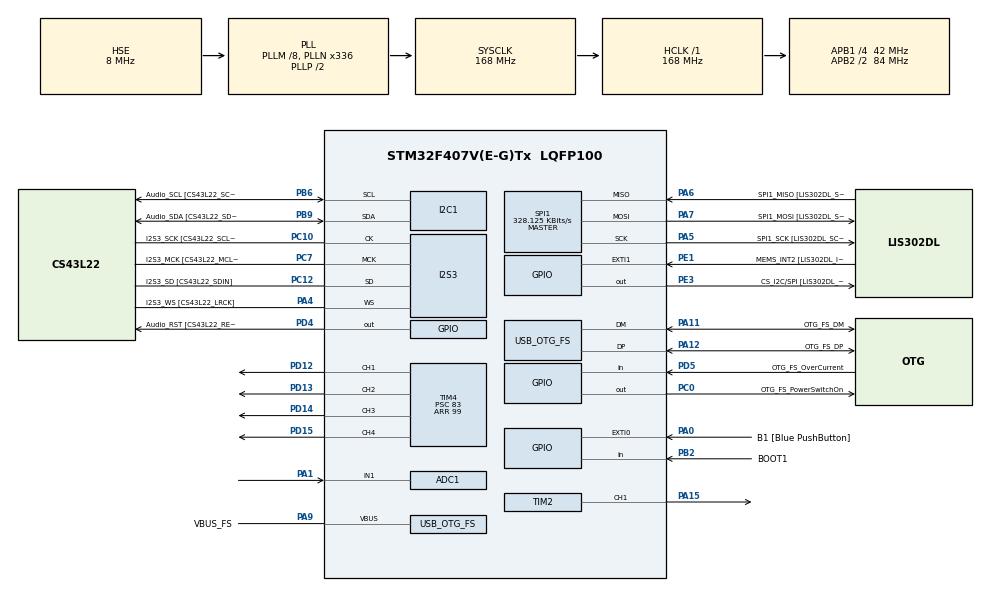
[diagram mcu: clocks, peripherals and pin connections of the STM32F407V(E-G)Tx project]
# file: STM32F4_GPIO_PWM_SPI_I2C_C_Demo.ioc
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ADC1.Channel-0\#ChannelRegularConversion=ADC_CHANNEL_1
ADC1.NbrOfConversionFlag=1
ADC1.Rank-0\#ChannelRegularConversion=1
ADC1.SamplingTime-0\#ChannelRegularConversion=ADC_SAMPLETIME_3CYCLES
ADC1.master=1
I2S3.AudioFreq-Half_Duplex_Master=I2S_AUDIOFREQ_96K
I2S3.ErrorAudioFreq=-2.34 %
I2S3.ErrorAudioFreq-Half_Duplex_Master=0.8 %
I2S3.FullDuplexMode=I2S_FULLDUPLEXMODE_DISABLE
I2S3.Instance=SPI$Index
I2S3.RealAudioFreq=93.75 KHz
I2S3.RealAudioFreq-Half_Duplex_Master=96.774 KHz
I2S3.VirtualMode=I2S_MODE_MASTER
Mcu.Family=STM32F4
Mcu.Name=STM32F407V(E-G)Tx
Mcu.Package=LQFP100
NVIC.OTG_FS_IRQn=true\:0\:0\:false\:false\:true\:true\:true\:true
NVIC.PriorityGroup=NVIC_PRIORITYGROUP_0
PA0-WKUP.GPIO_Label=B1 [Blue PushButton]
PA0-WKUP.GPIO_ModeDefaultEXTI=GPIO_MODE_EVT_RISING
PA0-WKUP.GPIO_PuPd=GPIO_NOPULL
PA0-WKUP.Signal=GPXTI0
PA1.Signal=ADCx_IN1
PA10.GPIO_Label=OTG_FS_ID
PA10.GPIO_Mode=GPIO_MODE_AF_PP
PA10.GPIO_PuPd=GPIO_NOPULL
PA10.GPIO_Speed=GPIO_SPEED_FREQ_LOW
PA10.Signal=USB_OTG_FS_ID
PA11.GPIO_Label=OTG_FS_DM
PA11.GPIO_Mode=GPIO_MODE_AF_PP
PA11.GPIO_PuPd=GPIO_NOPULL
PA11.GPIO_Speed=GPIO_SPEED_FREQ_LOW
PA11.Mode=Device_Only
PA11.Signal=USB_OTG_FS_DM
PA12.GPIO_Label=OTG_FS_DP
PA12.GPIO_Mode=GPIO_MODE_AF_PP
PA12.GPIO_PuPd=GPIO_NOPULL
PA12.GPIO_Speed=GPIO_SPEED_FREQ_LOW
PA12.Mode=Device_Only
PA12.Signal=USB_OTG_FS_DP
PA13.GPIO_Label=SWDIO
PA13.Mode=Serial_Wire
PA13.Signal=SYS_JTMS-SWDIO
PA14.GPIO_Label=SWCLK
PA14.Mode=Serial_Wire
PA14.Signal=SYS_JTCK-SWCLK
PA15.Signal=S_TIM2_CH1_ETR
PA2.Signal=ADCx_IN2
PA3.Signal=ADCx_IN3
PA4.GPIO_Label=I2S3_WS [CS43L22_LRCK]
PA4.GPIO_Mode=GPIO_MODE_AF_PP
PA4.GPIO_PuPd=GPIO_NOPULL
PA4.GPIO_Speed=GPIO_SPEED_FREQ_LOW
PA4.Mode=Half_Duplex_Master
PA4.Signal=I2S3_WS
PA5.GPIO_Label=SPI1_SCK [LIS302DL_SCL/SPC]
PA5.GPIO_Mode=GPIO_MODE_AF_PP
PA5.GPIO_PuPd=GPIO_NOPULL
PA5.GPIO_Speed=GPIO_SPEED_FREQ_LOW
PA5.Mode=Full_Duplex_Master
PA5.Signal=SPI1_SCK
PA6.GPIO_Label=SPI1_MISO [LIS302DL_SDO]
PA6.GPIO_Mode=GPIO_MODE_AF_PP
PA6.GPIO_PuPd=GPIO_NOPULL
PA6.GPIO_Speed=GPIO_SPEED_FREQ_LOW
PA6.Mode=Full_Duplex_Master
PA6.Signal=SPI1_MISO
PA7.GPIO_Label=SPI1_MOSI [LIS302DL_SDA/SDI/SDO]
PA7.GPIO_Mode=GPIO_MODE_AF_PP
PA7.GPIO_PuPd=GPIO_NOPULL
PA7.GPIO_Speed=GPIO_SPEED_FREQ_LOW
PA7.Mode=Full_Duplex_Master
PA7.Signal=SPI1_MOSI
PA9.GPIO_Label=VBUS_FS
PA9.GPIO_Mode=GPIO_MODE_INPUT
PA9.GPIO_PuPd=GPIO_NOPULL
PA9.Mode=Activate_VBUS
PA9.Signal=USB_OTG_FS_VBUS
PB10.GPIO_Label=CLK_IN [MP45DT02_CLK]
PB10.GPIO_Mode=GPIO_MODE_AF_PP
PB10.GPIO_PuPd=GPIO_NOPULL
PB10.GPIO_Speed=GPIO_SPEED_FREQ_LOW
PB10.Signal=I2S2_CK
PB2.GPIO_Label=BOOT1
PB2.GPIO_Mode=GPIO_MODE_INPUT
PB2.GPIO_PuPd=GPIO_NOPULL
PB2.Signal=GPIO_Input
PB3.GPIO_Label=SWO
PB3.Signal=SYS_JTDO-SWO
PB6.GPIO_Label=Audio_SCL [CS43L22_SCL]
PB6.GPIO_Mode=GPIO_MODE_AF_OD
PB6.GPIO_Pu=GPIO_PULLUP
PB6.GPIO_PuPd=GPIO_NOPULL
PB6.GPIO_Speed=GPIO_SPEED_FREQ_LOW
PB6.Mode=I2C
PB6.Signal=I2C1_SCL
PB9.GPIO_Label=Audio_SDA [CS43L22_SDA]
PB9.GPIO_Mode=GPIO_MODE_AF_OD
PB9.GPIO_Pu=GPIO_PULLUP
PB9.GPIO_PuPd=GPIO_NOPULL
PB9.GPIO_Speed=GPIO_SPEED_FREQ_LOW
PB9.Mode=I2C
PB9.Signal=I2C1_SDA
PC0.GPIO_Label=OTG_FS_PowerSwitchOn
PC0.GPIO_PuPd=GPIO_NOPULL
PC0.GPIO_Speed=GPIO_SPEED_FREQ_LOW
PC0.PinState=GPIO_PIN_SET
PC0.Signal=GPIO_Output
PC10.GPIO_Label=I2S3_SCK [CS43L22_SCLK]
PC10.GPIO_Mode=GPIO_MODE_AF_PP
PC10.GPIO_PuPd=GPIO_NOPULL
PC10.GPIO_Speed=GPIO_SPEED_FREQ_LOW
PC10.Mode=Half_Duplex_Master
PC10.Signal=I2S3_CK
PC12.GPIO_Label=I2S3_SD [CS43L22_SDIN]
PC12.GPIO_Mode=GPIO_MODE_AF_PP
PC12.GPIO_PuPd=GPIO_NOPULL
PC12.GPIO_Speed=GPIO_SPEED_FREQ_LOW
PC12.Mode=Half_Duplex_Master
PC12.Signal=I2S3_SD
PC14-OSC32_IN.GPIO_Label=PC14-OSC32_IN
PC14-OSC32_IN.Mode=LSE-External-Oscillator
PC14-OSC32_IN.Signal=RCC_OSC32_IN
PC15-OSC32_OUT.GPIO_Label=PC15-OSC32_OUT
PC15-OSC32_OUT.Mode=LSE-External-Oscillator
PC15-OSC32_OUT.Signal=RCC_OSC32_OUT
PC3.GPIO_Label=PDM_OUT [MP45DT02_DOUT]
PC3.GPIO_Mode=GPIO_MODE_AF_PP
PC3.GPIO_PuPd=GPIO_NOPULL
PC3.GPIO_Speed=GPIO_SPEED_FREQ_LOW
PC3.Signal=I2S2_SD
PC7.GPIO_Label=I2S3_MCK [CS43L22_MCLK]
PC7.GPIO_Mode=GPIO_MODE_AF_PP
PC7.GPIO_PuPd=GPIO_NOPULL
PC7.GPIO_Speed=GPIO_SPEED_FREQ_LOW
PC7.Mode=Master_Clock_Activated
PC7.Signal=I2S3_MCK
PD12.Signal=S_TIM4_CH1
PD13.Signal=S_TIM4_CH2
PD14.Signal=S_TIM4_CH3
PD15.Signal=S_TIM4_CH4
PD4.GPIO_Label=Audio_RST [CS43L22_RESET]
PD4.GPIO_PuPd=GPIO_NOPULL
PD4.GPIO_Speed=GPIO_SPEED_FREQ_LOW
PD4.Signal=GPIO_Output
PD5.GPIO_Label=OTG_FS_OverCurrent
PD5.GPIO_Mode=GPIO_MODE_INPUT
PD5.GPIO_PuPd=GPIO_NOPULL
PD5.Signal=GPIO_Input
PE1.GPIO_Label=MEMS_INT2 [LIS302DL_INT2]
PE1.GPIO_ModeDefaultEXTI=GPIO_MODE_EVT_RISING
PE1.GPIO_PuPd=GPIO_NOPULL
PE1.Signal=GPXTI1
PE3.GPIO_Label=CS_I2C/SPI [LIS302DL_CS_I2C/SPI]
PE3.GPIO_PuPd=GPIO_NOPULL
PE3.GPIO_Speed=GPIO_SPEED_FREQ_LOW
PE3.Signal=GPIO_Output
PH0-OSC_IN.GPIO_Label=PH0-OSC_IN
PH0-OSC_IN.Mode=HSE-External-Oscillator
PH0-OSC_IN.Signal=RCC_OSC_IN
PH1-OSC_OUT.GPIO_Label=PH1-OSC_OUT
PH1-OSC_OUT.Mode=HSE-External-Oscillator
PH1-OSC_OUT.Signal=RCC_OSC_OUT
ProjectManager.HeapSize=0x200
ProjectManager.StackSize=0x400
ProjectManager.TargetToolchain=STM32CubeIDE
RCC.48MHZClocksFreq_Value=48000000
RCC.AHBFreq_Value=168000000
RCC.APB1CLKDivider=RCC_HCLK_DIV4
RCC.APB1Freq_Value=42000000
RCC.APB1TimFreq_Value=84000000
RCC.APB2CLKDivider=RCC_HCLK_DIV2
RCC.APB2Freq_Value=84000000
RCC.APB2TimFreq_Value=168000000
RCC.CortexFreq_Value=168000000
RCC.HCLKFreq_Value=168000000
RCC.HSE_VALUE=8000000
RCC.HSI_VALUE=16000000
RCC.PLLM=8
RCC.PLLN=336
RCC.PLLQ=7
RCC.SYSCLKFreq_VALUE=168000000
RCC.SYSCLKSource=RCC_SYSCLKSOURCE_PLLCLK
RCC.VCOOutputFreq_Value=336000000
SH.ADCx_IN1.0=ADC1_IN1,IN1
SH.ADCx_IN2.0=ADC1_IN2
SH.ADCx_IN3.0=ADC1_IN3
SH.S_TIM2_CH1_ETR.0=TIM2_CH1,PWM Generation1 CH1
SH.S_TIM4_CH1.0=TIM4_CH1,PWM Generation1 CH1
SH.S_TIM4_CH2.0=TIM4_CH2,PWM Generation2 CH2
SH.S_TIM4_CH3.0=TIM4_CH3,PWM Generation3 CH3
SH.S_TIM4_CH4.0=TIM4_CH4,PWM Generation4 CH4
SPI1.BaudRatePrescaler=SPI_BAUDRATEPRESCALER_256
SPI1.BaudRatePrescaler-Full_Duplex_Master=SPI_BAUDRATEPRESCALER_2
SPI1.CalculateBaudRate=328.125 KBits/s
SPI1.CalculateBaudRate-Full_Duplex_Master=42.0 MBits/s
SPI1.Direction=SPI_DIRECTION_2LINES
SPI1.Mode=SPI_MODE_MASTER
SPI1.Mode-Full_Duplex_Master=SPI_MODE_MASTER
SPI1.VirtualType=VM_MASTER
TIM2.Channel-PWM\ Generation1\ CH1=TIM_CHANNEL_1
TIM2.Period=99
TIM2.Prescaler=83
TIM4.Channel-PWM\ Generation1\ CH1=TIM_CHANNEL_1
TIM4.Channel-PWM\ Generation2\ CH2=TIM_CHANNEL_2
TIM4.Channel-PWM\ Generation3\ CH3=TIM_CHANNEL_3
TIM4.Channel-PWM\ Generation4\ CH4=TIM_CHANNEL_4
TIM4.Period=99
TIM4.Prescaler=83
USB_DEVICE.CLASS_NAME_FS=CDC
USB_DEVICE.VirtualMode-CDC_FS=Cdc
USB_DEVICE.VirtualModeFS=Cdc_FS
USB_OTG_FS.VirtualMode=Device_Only
VP_TIM2_VS_ClockSourceINT.Mode=Internal
VP_TIM4_VS_ClockSourceINT.Mode=Internal
VP_USB_DEVICE_VS_USB_DEVICE_CDC_FS.Mode=CDC_FS
board=STM32F407G-DISC1

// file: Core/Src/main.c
/* USER CODE BEGIN Header */
/**
  ******************************************************************************
  * @file           : main.c
  * @brief          : Main program body
  ******************************************************************************
  * @attention
  *
  * Copyright (c) 2024 STMicroelectronics.
  * All rights reserved.
  *
  * This software is licensed under terms that can be found in the LICENSE file
  * in the root directory of this software component.
  * If no LICENSE file comes with this software, it is provided AS-IS.
  *
  ******************************************************************************
  */
/* USER CODE END Header */
#include "main.h"
#include "adc.h"
#include "i2c.h"
#include "i2s.h"
#include "spi.h"
#include "tim.h"
#include "usb_device.h"
#include "gpio.h"

/* USER CODE BEGIN PV */
#define 	BUFSIZE 256
char	SendBuffer[BUFSIZE];
int	Counter;
int KeyState=0;
int Duty=0;
int NoteFreq = 440 ; // Note A4 = 440 Hz
int NotePeriod;  //Already prescaled to 1 MHz

uint8_t ChipID;

uint32_t TickLast;
// Global variables
uint8_t indata[2];
uint8_t outdata[2] = {0,0};
uint8_t lis_id;
int8_t AccelX;
int8_t AccelY;
int8_t AccelZ;

HAL_StatusTypeDef retval;

int AnalogValue1,AnalogValue2,AnalogValue3;
/* USER CODE END PV */

void SystemClock_Config(void);

/* USER CODE BEGIN 0 */
void setPWM(TIM_HandleTypeDef timer, uint32_t channel, uint16_t period, uint16_t pulse)
{
	 HAL_TIM_PWM_Stop(&timer, channel); // stop generation of pwm
	 TIM_OC_InitTypeDef sConfigOC;
	 timer.Init.Period = period; // set the period duration
	 HAL_TIM_PWM_Init(&timer); // reinititialise with new period value
	 sConfigOC.OCMode = TIM_OCMODE_PWM1;
	 sConfigOC.Pulse = pulse; // set the pulse duration
	 sConfigOC.OCPolarity = TIM_OCPOLARITY_HIGH;
	 sConfigOC.OCFastMode = TIM_OCFAST_DISABLE;
	 HAL_TIM_PWM_ConfigChannel(&timer, &sConfigOC, channel);
	 HAL_TIM_PWM_Start(&timer, channel); // start pwm generation
}

/* USER CODE END 0 */

int main(void)
{

  /* MCU Configuration--------------------------------------------------------*/

  /* Reset of all peripherals, Initializes the Flash interface and the Systick. */
  HAL_Init();

  /* Configure the system clock */
  SystemClock_Config();

  /* Initialize all configured peripherals */
  MX_GPIO_Init();
  MX_I2C1_Init();
  MX_I2S3_Init();
  MX_SPI1_Init();
  MX_USB_DEVICE_Init();
  MX_TIM4_Init();
  MX_TIM2_Init();
  MX_ADC1_Init();
  /* USER CODE BEGIN 2 */
  HAL_TIM_PWM_Start(&htim4, TIM_CHANNEL_1);
  HAL_TIM_PWM_Start(&htim4, TIM_CHANNEL_2);
  HAL_TIM_PWM_Start(&htim4, TIM_CHANNEL_3);
  HAL_TIM_PWM_Start(&htim4, TIM_CHANNEL_4);

  HAL_TIM_PWM_Start(&htim2, TIM_CHANNEL_1);

  // Config accelerometer
  // Read WHOAMI register
  HAL_GPIO_WritePin(GPIOE, GPIO_PIN_3, GPIO_PIN_RESET);
  outdata[0] = 0x0f | 0x80 ;  // read whoami
  HAL_SPI_TransmitReceive(&hspi1, &outdata, &indata, 2, HAL_MAX_DELAY);
  lis_id = indata[1];
  HAL_GPIO_WritePin(GPIOE, GPIO_PIN_3, GPIO_PIN_SET);

  HAL_Delay(500);

  // Set CTRL register 0x47 -> [0x20]
  HAL_GPIO_WritePin(GPIOE, GPIO_PIN_3, GPIO_PIN_RESET);
  outdata[0] = 0x20 ;  // switch on axes
  outdata[1] = 0x47 ;
  HAL_SPI_TransmitReceive(&hspi1, &outdata, &indata, 2, HAL_MAX_DELAY);
  HAL_GPIO_WritePin(GPIOE, GPIO_PIN_3, GPIO_PIN_SET);

  HAL_Delay(500);
  outdata[1] = 0x00 ;

  HAL_GPIO_WritePin(GPIOD, GPIO_PIN_4,GPIO_PIN_SET);   // Set Reset line to 1 (switch device on)

  HAL_Delay(1000);   // recomended by datasheet

  HAL_ADC_Start(&hadc1);

  TickLast = HAL_GetTick();
  /* USER CODE END 2 */

  /* Infinite loop */
  /* USER CODE BEGIN WHILE */
  while (1)
  {
	    htim4.Instance->CCR1 = Duty;
	    htim4.Instance->CCR2 = 100-Duty;
	    htim4.Instance->CCR3 = Duty;
	    htim4.Instance->CCR4 = 100-Duty;

	    KeyState = HAL_GPIO_ReadPin(GPIOA, GPIO_PIN_0);

	    // Read x,y,z axes
	      outdata[0] = 0x29 | 0x80  ;  // read x
	      HAL_GPIO_WritePin(GPIOE, GPIO_PIN_3, GPIO_PIN_RESET);
	      HAL_SPI_TransmitReceive(&hspi1, &outdata, &indata, 2, HAL_MAX_DELAY);
	      AccelX = indata[1];

	      outdata[0] = 0x2B | 0x80  ;  // read y
	      HAL_SPI_TransmitReceive(&hspi1, &outdata, &indata, 2, HAL_MAX_DELAY);
	      AccelY = indata[1];

	      outdata[0] = 0x2D | 0x80  ;  // read z
	      HAL_SPI_TransmitReceive(&hspi1, &outdata, &indata, 2, HAL_MAX_DELAY);
	      HAL_GPIO_WritePin(GPIOE, GPIO_PIN_3, GPIO_PIN_SET);
	      AccelZ = indata[1];

	      HAL_ADC_PollForConversion(&hadc1, HAL_MAX_DELAY);
	      AnalogValue1 = HAL_ADC_GetValue(&hadc1);
	      HAL_ADC_Start(&hadc1);

    /* USER CODE END WHILE */

    /* USER CODE BEGIN 3 */
	      if ( (HAL_GetTick() - TickLast) > 1000) {   // Do this each second !
	    	  Duty = (Duty + 10) ; // Add 10 if delay 1 sec, add 1 on shorter delay...
	    	  if (Duty > 100 )
	    		  Duty = 1;

		      // From Device with address=0x94, Read register with address 0x01 and put value in ChipID
		      // DevAddress_0x94, tMemAddress=0x01, MemAddSize=8b, *pData,Size, Timeout);
		      retval = HAL_I2C_Mem_Read(&hi2c1, 0x94, 0x01, I2C_MEMADD_SIZE_8BIT, &ChipID, 1, 1000);

		      // Change Period and set 50% duty for buzzer PWM output
			  NotePeriod = (int)(1000000/NoteFreq);  //Already prescaled to 1 MHz
			  setPWM(htim2, TIM_CHANNEL_1, NotePeriod, NotePeriod/2);

		      // Print values on USB VComPort
		      snprintf(SendBuffer,BUFSIZE,"Hello World [%d]: Key:%d Duty:%d PWM-Freq:%d PWM-Period:%d Accel[ID:%02x] X:%04d Y:%d Z:%04d ChipID:%02x ADC1:%d\r\n",Counter++,KeyState,Duty,NoteFreq,NotePeriod,lis_id,AccelX,AccelY,AccelZ,ChipID,AnalogValue1);
	    	  CDC_Transmit_FS(SendBuffer,strlen(SendBuffer));

	    	  TickLast = HAL_GetTick();  // Reset counter
	      };

//	  	HAL_Delay(1000);
  }
  /* USER CODE END 3 */
}

void SystemClock_Config(void)
{
  RCC_OscInitTypeDef RCC_OscInitStruct = {0};
  RCC_ClkInitTypeDef RCC_ClkInitStruct = {0};

  /** Configure the main internal regulator output voltage
  */
  __HAL_RCC_PWR_CLK_ENABLE();
  __HAL_PWR_VOLTAGESCALING_CONFIG(PWR_REGULATOR_VOLTAGE_SCALE1);

  /** Initializes the RCC Oscillators according to the specified parameters
  * in the RCC_OscInitTypeDef structure.
  */
  RCC_OscInitStruct.OscillatorType = RCC_OSCILLATORTYPE_HSE;
  RCC_OscInitStruct.HSEState = RCC_HSE_ON;
  RCC_OscInitStruct.PLL.PLLState = RCC_PLL_ON;
  RCC_OscInitStruct.PLL.PLLSource = RCC_PLLSOURCE_HSE;
  RCC_OscInitStruct.PLL.PLLM = 8;
  RCC_OscInitStruct.PLL.PLLN = 336;
  RCC_OscInitStruct.PLL.PLLP = RCC_PLLP_DIV2;
  RCC_OscInitStruct.PLL.PLLQ = 7;
  if (HAL_RCC_OscConfig(&RCC_OscInitStruct) != HAL_OK)
  {
    Error_Handler();
  }

  /** Initializes the CPU, AHB and APB buses clocks
  */
  RCC_ClkInitStruct.ClockType = RCC_CLOCKTYPE_HCLK|RCC_CLOCKTYPE_SYSCLK
                              |RCC_CLOCKTYPE_PCLK1|RCC_CLOCKTYPE_PCLK2;
  RCC_ClkInitStruct.SYSCLKSource = RCC_SYSCLKSOURCE_PLLCLK;
  RCC_ClkInitStruct.AHBCLKDivider = RCC_SYSCLK_DIV1;
  RCC_ClkInitStruct.APB1CLKDivider = RCC_HCLK_DIV4;
  RCC_ClkInitStruct.APB2CLKDivider = RCC_HCLK_DIV2;

  if (HAL_RCC_ClockConfig(&RCC_ClkInitStruct, FLASH_LATENCY_5) != HAL_OK)
  {
    Error_Handler();
  }
}

void Error_Handler(void)
{
  __disable_irq();
  while (1)
  {
  }
}
